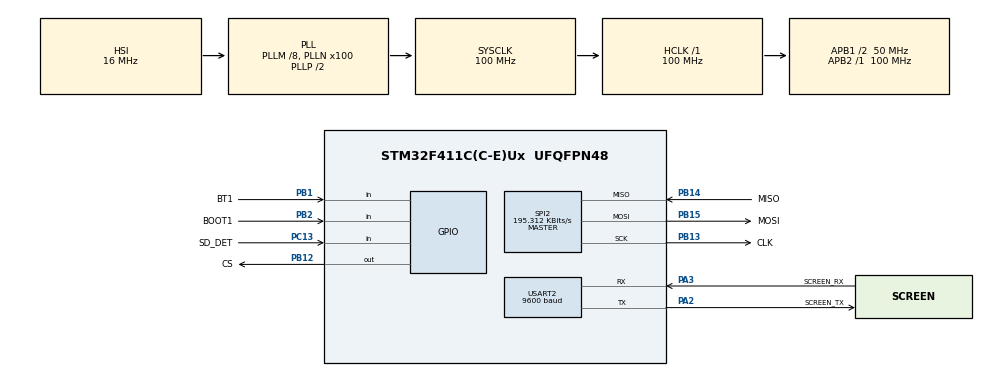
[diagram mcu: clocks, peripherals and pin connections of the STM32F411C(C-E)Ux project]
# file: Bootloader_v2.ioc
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Mcu.Family=STM32F4
Mcu.Name=STM32F411C(C-E)Ux
Mcu.Package=UFQFPN48
NVIC.PriorityGroup=NVIC_PRIORITYGROUP_4
NVIC.USART2_IRQn=true\:0\:0\:false\:false\:true\:true\:true\:true
PA2.GPIO_Label=SCREEN_TX
PA2.Mode=Asynchronous
PA2.Signal=USART2_TX
PA3.GPIO_Label=SCREEN_RX
PA3.Mode=Asynchronous
PA3.Signal=USART2_RX
PB1.GPIO_Label=BT1
PB1.GPIO_PuPd=GPIO_PULLUP
PB1.Signal=GPIO_Input
PB12.GPIO_Label=CS
PB12.Signal=GPIO_Output
PB13.GPIO_Label=CLK
PB13.GPIO_PuPd=GPIO_PULLUP
PB13.Mode=Full_Duplex_Master
PB13.Signal=SPI2_SCK
PB14.GPIO_Label=MISO
PB14.GPIO_PuPd=GPIO_PULLUP
PB14.Mode=Full_Duplex_Master
PB14.Signal=SPI2_MISO
PB15.GPIO_Label=MOSI
PB15.GPIO_PuPd=GPIO_PULLUP
PB15.Mode=Full_Duplex_Master
PB15.Signal=SPI2_MOSI
PB2.GPIO_Label=BOOT1
PB2.GPIO_PuPd=GPIO_PULLUP
PB2.Signal=GPIO_Input
PC13-ANTI_TAMP.GPIO_Label=SD_DET
PC13-ANTI_TAMP.Signal=GPIO_Input
ProjectManager.HeapSize=0x200
ProjectManager.StackSize=0x400
ProjectManager.TargetToolchain=STM32CubeIDE
RCC.48MHZClocksFreq_Value=50000000
RCC.AHBFreq_Value=100000000
RCC.APB1CLKDivider=RCC_HCLK_DIV2
RCC.APB1Freq_Value=50000000
RCC.APB1TimFreq_Value=100000000
RCC.APB2Freq_Value=100000000
RCC.APB2TimFreq_Value=100000000
RCC.CortexFreq_Value=100000000
RCC.HCLKFreq_Value=100000000
RCC.HSE_VALUE=25000000
RCC.HSI_VALUE=16000000
RCC.LSE_VALUE=32768
RCC.PLLM=8
RCC.PLLN=100
RCC.SYSCLKFreq_VALUE=100000000
RCC.SYSCLKSource=RCC_SYSCLKSOURCE_PLLCLK
RCC.VCOOutputFreq_Value=200000000
SPI2.BaudRatePrescaler=SPI_BAUDRATEPRESCALER_256
SPI2.CalculateBaudRate=195.312 KBits/s
SPI2.Direction=SPI_DIRECTION_2LINES
SPI2.Mode=SPI_MODE_MASTER
SPI2.VirtualType=VM_MASTER
USART2.BaudRate=9600
USART2.VirtualMode=VM_ASYNC
VP_FATFS_VS_Generic.Mode=User_defined
board=custom

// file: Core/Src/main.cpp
/* USER CODE BEGIN Header */
/**
 ******************************************************************************
 * @file           : main.c
 * @brief          : Main program body
 ******************************************************************************
 * @attention
 *
 * Copyright (c) 2025 STMicroelectronics.
 * All rights reserved.
 *
 * This software is licensed under terms that can be found in the LICENSE file
 * in the root directory of this software component.
 * If no LICENSE file comes with this software, it is provided AS-IS.
 *
 ******************************************************************************
 */
/* USER CODE END Header */
#include "main.h"
#include "fatfs.h"

/* USER CODE BEGIN Includes */
#include <stdio.h>
#include <string.h>
#include <stdarg.h>
#include "ff.h"                 // For low-level file handling
#include "stm32f4xx_hal_flash.h" // For FLASH functions (erase, program)
#define APP_START_ADDRESS 0x8010000
#define BOOT_FLAG_REG RTC->BKP0R
#define BOOT_FLAG_NO_UPDATE  0xABCD1234
#define BOOT_FLAG_CLEAR      0x00000000
#define FIRMWARE_PATH "monitor.bin"
/* USER CODE END Includes */

/* USER CODE BEGIN PTD */
enum class err_t {OK,NOT_OK,SD_MOUNT_ERR,NOT_FOUND,UNKNOWN_ERR};
typedef void (*jumpApp)(void);
typedef void (*p_app_entry_t)(void);
static inline int is_valid_msp(uint32_t msp) {
    return (msp >= 0x20000000U && msp <= 0x2003FFFFU);
}
/* USER CODE END PTD */

SPI_HandleTypeDef hspi2;

UART_HandleTypeDef huart2;

void SystemClock_Config(void);
static void MX_GPIO_Init(void);
static void MX_SPI2_Init(void);
static void MX_USART2_UART_Init(void);
/* USER CODE BEGIN PFP */
static void bootflag_write(uint32_t v);
static uint32_t bootflag_read(void);
static void bootflag_clear(void);
err_t checkFile(const char *filename);
err_t deleteFile(const char *filename);
void flash_firmware_from_sd(void);
/* USER CODE END PFP */

/* USER CODE BEGIN 0 */
static void bootflag_write(uint32_t v) {
    HAL_PWR_EnableBkUpAccess();
    BOOT_FLAG_REG = v;
    HAL_PWR_DisableBkUpAccess();
}
static uint32_t bootflag_read(void) {
    HAL_PWR_EnableBkUpAccess();
    uint32_t v = BOOT_FLAG_REG;
    HAL_PWR_DisableBkUpAccess();
    return v;
}
static void bootflag_clear(void) {
    bootflag_write(BOOT_FLAG_CLEAR);
}

extern "C" void bootloaderStart(uint32_t app_addr) {
	uint32_t app_msp = *(uint32_t *)APP_START_ADDRESS;
	    uint32_t app_reset = *(uint32_t *)(APP_START_ADDRESS + 4);

	    if (app_msp == 0xFFFFFFFF || app_reset == 0xFFFFFFFF) return;
	    if (!is_valid_msp(app_msp)) return;

	    __disable_irq();
	    SysTick->CTRL = 0;
	    SysTick->LOAD = 0;
	    SysTick->VAL  = 0;

	    HAL_RCC_DeInit();
	    HAL_DeInit();

	    SCB->VTOR = APP_START_ADDRESS;
	    __set_MSP(app_msp);
	    __DSB(); __ISB();

	    p_app_entry_t app_entry = (p_app_entry_t)(app_reset | 1U);
	    app_entry();
}
err_t checkFile(const char *filename){
	FATFS FatFs;
		FatFs.fs_type = FS_FAT32;
		FIL file;
		FRESULT fres;
		fres =f_mount(&FatFs, "", 1);
		if ( fres!= FR_OK) {
			return err_t::SD_MOUNT_ERR;
				}
		fres = f_open(&file, filename, FA_READ);
			if (fres == FR_NO_FILE) {
				return err_t::NOT_FOUND;
			}
			if(fres == FR_OK) {
				return err_t::OK;
			}
			return err_t::UNKNOWN_ERR;
}
err_t deleteFile(const char *filename){
	FATFS FatFs;
	FatFs.fs_type = FS_FAT32;
	FIL file;
	FRESULT fres;
	fres =f_mount(&FatFs, "", 1);
	if ( fres!= FR_OK) {
		return err_t::SD_MOUNT_ERR;
			}
	fres = f_open(&file, filename, FA_READ);
		if (fres == FR_NO_FILE) {
			return err_t::OK;
		}
		fres = f_close(&file);
		fres = f_unlink(filename);
		if (fres == FR_OK) {
			return err_t::OK;
		}
return err_t::NOT_OK;
}
void flash_firmware_from_sd(void) {
		FATFS FatFs;
		FatFs.fs_type = FS_FAT32;
		FIL file;
		UINT br;
		uint8_t buffer[512];
		uint32_t address = APP_START_ADDRESS;  // App start
		FRESULT fres;

		fres =f_mount(&FatFs, "", 1);
		if ( fres!= FR_OK) {
			HAL_UART_Transmit(&huart2,(uint8_t *) "page 33", 7, HAL_MAX_DELAY); //set to fail page
			  HAL_Delay(50);
			  uint8_t endCommand[3] = {0xFF, 0xFF, 0xFF};
			  HAL_UART_Transmit(&huart2, endCommand, sizeof(endCommand), HAL_MAX_DELAY);
			return;
		}

		if (f_open(&file, FIRMWARE_PATH, FA_READ) != FR_OK) return;

		 if (HAL_FLASH_Unlock() != HAL_OK) return;
		FLASH_EraseInitTypeDef EraseInit;
		uint32_t SectorError;
   		EraseInit.TypeErase = FLASH_TYPEERASE_SECTORS;
		EraseInit.VoltageRange = FLASH_VOLTAGE_RANGE_3;
		EraseInit.Sector = FLASH_SECTOR_2;
		EraseInit.NbSectors = 6;            //  if needed

		if (HAL_FLASHEx_Erase(&EraseInit, &SectorError) != HAL_OK) {
			HAL_FLASH_Lock();
			f_close(&file);
			HAL_UART_Transmit(&huart2,(uint8_t *) "page 33", 7, HAL_MAX_DELAY); //set to fail page
			  HAL_Delay(50);
			  uint8_t endCommand[3] = {0xFF, 0xFF, 0xFF};
			  HAL_UART_Transmit(&huart2, endCommand, sizeof(endCommand), HAL_MAX_DELAY);
			return;
		}

		 while (f_read(&file, buffer, sizeof(buffer), &br) == FR_OK && br > 0) {
		        for (UINT i = 0; i < br; i += 4) {
		            uint32_t word = 0xFFFFFFFF;
		            uint32_t bytes = (br - i >= 4) ? 4U : (br - i);
		            memcpy(&word, &buffer[i], bytes);
		            if (HAL_FLASH_Program(FLASH_TYPEPROGRAM_WORD, address, word) != HAL_OK) {
		                HAL_FLASH_Lock();
		                f_close(&file);
		                return;
		            }
		            address += 4;
		        }
		    }
		f_close(&file);
		HAL_UART_Transmit(&huart2,(uint8_t *) "page 32", 7, HAL_MAX_DELAY); //set to pass page
	  HAL_Delay(50);
	  uint8_t endCommand[3] = {0xFF, 0xFF, 0xFF};
	  HAL_UART_Transmit(&huart2, endCommand, sizeof(endCommand), HAL_MAX_DELAY);

		HAL_FLASH_Lock();
	f_unlink(FIRMWARE_PATH);

	for(int i =5;i>=0; i--)
	{
//		  const char component = "n0";
		 char command[64];
		 snprintf(command, sizeof(command), "%s.val=%d", "n0", i);
		 HAL_UART_Transmit(&huart2, (uint8_t*)command, strlen(command), HAL_MAX_DELAY);
		 HAL_Delay(50);
	  uint8_t endCommand[3] = {0xFF, 0xFF, 0xFF};
	  HAL_UART_Transmit(&huart2, endCommand, sizeof(endCommand), HAL_MAX_DELAY);
	  HAL_Delay(1000);

}
		bootflag_write(BOOT_FLAG_NO_UPDATE);
		int y = 500;
		HAL_Delay(1500);

		HAL_NVIC_SystemReset();
}
/* USER CODE END 0 */

int main(void)
{

  /* MCU Configuration--------------------------------------------------------*/

  /* Reset of all peripherals, Initializes the Flash interface and the Systick. */

	HAL_Init();

  /* USER CODE BEGIN Init */
  uint32_t x = bootflag_read();
  if (bootflag_read() == BOOT_FLAG_NO_UPDATE) {
      bootflag_clear();                     // clear it so we don’t loop forever
      bootloaderStart(APP_START_ADDRESS);   // safe jump to app
  }
  /* USER CODE END Init */

  /* Configure the system clock */
  SystemClock_Config();

  /* Initialize all configured peripherals */
  MX_GPIO_Init();
  MX_SPI2_Init();
  MX_FATFS_Init();
  MX_USART2_UART_Init();

  /* Infinite loop */
  /* USER CODE BEGIN WHILE */
  FATFS FatFs;
//  FatFs.fs_type = FS_FAT32;
  FIL file;
  FRESULT fres;
  fres = f_mount(&FatFs,"", 1); //1=mount now
  	if (fres != FR_OK) {
  	}
   fres = f_open(&file, FIRMWARE_PATH, FA_READ);
      if (fres == FR_OK) {

    	  HAL_UART_Transmit(&huart2,(uint8_t *) "page 31", 7, HAL_MAX_DELAY);
    	  HAL_Delay(50);
    	  uint8_t endCommand[3] = {0xFF, 0xFF, 0xFF};
    	  HAL_UART_Transmit(&huart2, endCommand, sizeof(endCommand), HAL_MAX_DELAY);
    	  HAL_Delay(2000);

          f_close(&file);
          flash_firmware_from_sd();
      }

      bootflag_write(BOOT_FLAG_NO_UPDATE);
         NVIC_SystemReset();
	while (1) {
    /* USER CODE END WHILE */

    /* USER CODE BEGIN 3 */
		HAL_Delay(800);

	}
  /* USER CODE END 3 */
}

void SystemClock_Config(void)
{
  RCC_OscInitTypeDef RCC_OscInitStruct = {0};
  RCC_ClkInitTypeDef RCC_ClkInitStruct = {0};

  /** Configure the main internal regulator output voltage
  */
  __HAL_RCC_PWR_CLK_ENABLE();
  __HAL_PWR_VOLTAGESCALING_CONFIG(PWR_REGULATOR_VOLTAGE_SCALE1);

  /** Initializes the RCC Oscillators according to the specified parameters
  * in the RCC_OscInitTypeDef structure.
  */
  RCC_OscInitStruct.OscillatorType = RCC_OSCILLATORTYPE_HSI;
  RCC_OscInitStruct.HSIState = RCC_HSI_ON;
  RCC_OscInitStruct.HSICalibrationValue = RCC_HSICALIBRATION_DEFAULT;
  RCC_OscInitStruct.PLL.PLLState = RCC_PLL_ON;
  RCC_OscInitStruct.PLL.PLLSource = RCC_PLLSOURCE_HSI;
  RCC_OscInitStruct.PLL.PLLM = 8;
  RCC_OscInitStruct.PLL.PLLN = 100;
  RCC_OscInitStruct.PLL.PLLP = RCC_PLLP_DIV2;
  RCC_OscInitStruct.PLL.PLLQ = 4;
  if (HAL_RCC_OscConfig(&RCC_OscInitStruct) != HAL_OK)
  {
    Error_Handler();
  }

  /** Initializes the CPU, AHB and APB buses clocks
  */
  RCC_ClkInitStruct.ClockType = RCC_CLOCKTYPE_HCLK|RCC_CLOCKTYPE_SYSCLK
                              |RCC_CLOCKTYPE_PCLK1|RCC_CLOCKTYPE_PCLK2;
  RCC_ClkInitStruct.SYSCLKSource = RCC_SYSCLKSOURCE_PLLCLK;
  RCC_ClkInitStruct.AHBCLKDivider = RCC_SYSCLK_DIV1;
  RCC_ClkInitStruct.APB1CLKDivider = RCC_HCLK_DIV2;
  RCC_ClkInitStruct.APB2CLKDivider = RCC_HCLK_DIV1;

  if (HAL_RCC_ClockConfig(&RCC_ClkInitStruct, FLASH_LATENCY_3) != HAL_OK)
  {
    Error_Handler();
  }
}

static void MX_SPI2_Init(void)
{

  /* SPI2 parameter configuration*/
  hspi2.Instance = SPI2;
  hspi2.Init.Mode = SPI_MODE_MASTER;
  hspi2.Init.Direction = SPI_DIRECTION_2LINES;
  hspi2.Init.DataSize = SPI_DATASIZE_8BIT;
  hspi2.Init.CLKPolarity = SPI_POLARITY_LOW;
  hspi2.Init.CLKPhase = SPI_PHASE_1EDGE;
  hspi2.Init.NSS = SPI_NSS_SOFT;
  hspi2.Init.BaudRatePrescaler = SPI_BAUDRATEPRESCALER_256;
  hspi2.Init.FirstBit = SPI_FIRSTBIT_MSB;
  hspi2.Init.TIMode = SPI_TIMODE_DISABLE;
  hspi2.Init.CRCCalculation = SPI_CRCCALCULATION_DISABLE;
  hspi2.Init.CRCPolynomial = 10;
  if (HAL_SPI_Init(&hspi2) != HAL_OK)
  {
    Error_Handler();
  }

}

static void MX_USART2_UART_Init(void)
{

  huart2.Instance = USART2;
  huart2.Init.BaudRate = 9600;
  huart2.Init.WordLength = UART_WORDLENGTH_8B;
  huart2.Init.StopBits = UART_STOPBITS_1;
  huart2.Init.Parity = UART_PARITY_NONE;
  huart2.Init.Mode = UART_MODE_TX_RX;
  huart2.Init.HwFlowCtl = UART_HWCONTROL_NONE;
  huart2.Init.OverSampling = UART_OVERSAMPLING_16;
  if (HAL_UART_Init(&huart2) != HAL_OK)
  {
    Error_Handler();
  }

}

static void MX_GPIO_Init(void)
{
  GPIO_InitTypeDef GPIO_InitStruct = {0};

  /* GPIO Ports Clock Enable */
  __HAL_RCC_GPIOC_CLK_ENABLE();
  __HAL_RCC_GPIOA_CLK_ENABLE();
  __HAL_RCC_GPIOB_CLK_ENABLE();

  /*Configure GPIO pin Output Level */
  HAL_GPIO_WritePin(CS_GPIO_Port, CS_Pin, GPIO_PIN_RESET);

  /*Configure GPIO pin : SD_DET_Pin */
  GPIO_InitStruct.Pin = SD_DET_Pin;
  GPIO_InitStruct.Mode = GPIO_MODE_INPUT;
  GPIO_InitStruct.Pull = GPIO_NOPULL;
  HAL_GPIO_Init(SD_DET_GPIO_Port, &GPIO_InitStruct);

  /*Configure GPIO pins : BT1_Pin BOOT1_Pin */
  GPIO_InitStruct.Pin = BT1_Pin|BOOT1_Pin;
  GPIO_InitStruct.Mode = GPIO_MODE_INPUT;
  GPIO_InitStruct.Pull = GPIO_PULLUP;
  HAL_GPIO_Init(GPIOB, &GPIO_InitStruct);

  /*Configure GPIO pin : CS_Pin */
  GPIO_InitStruct.Pin = CS_Pin;
  GPIO_InitStruct.Mode = GPIO_MODE_OUTPUT_PP;
  GPIO_InitStruct.Pull = GPIO_NOPULL;
  GPIO_InitStruct.Speed = GPIO_SPEED_FREQ_LOW;
  HAL_GPIO_Init(CS_GPIO_Port, &GPIO_InitStruct);

}

void Error_Handler(void)
{
	__disable_irq();
	while (1) {
	}
}
